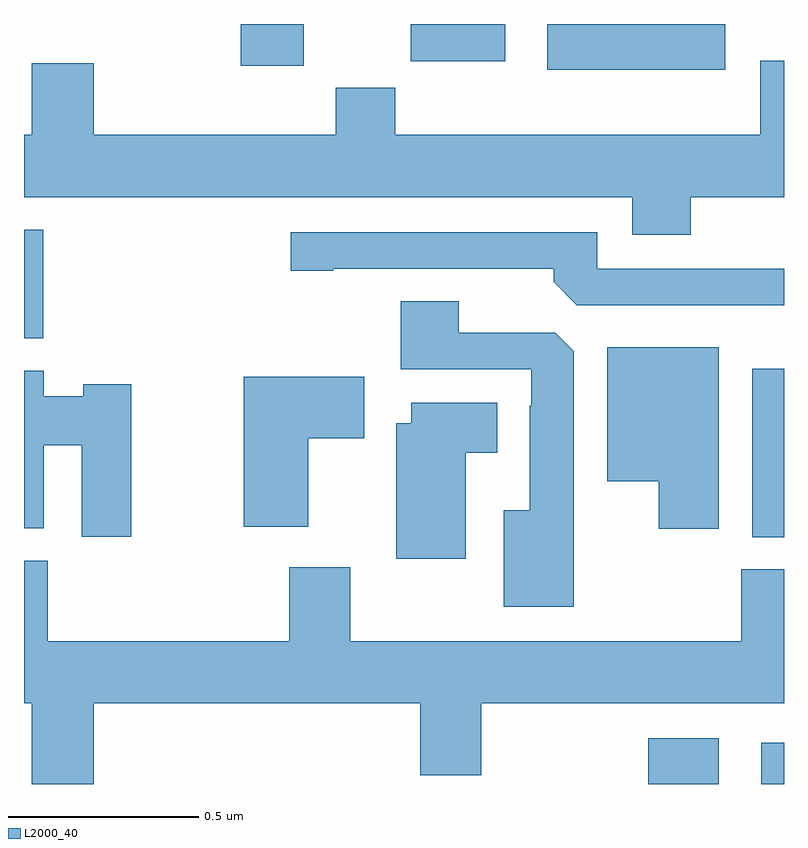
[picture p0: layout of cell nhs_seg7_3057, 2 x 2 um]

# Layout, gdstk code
import gdstk
lib = gdstk.Library(unit=1e-6, precision=1e-09)
def R(c, l, rs):  # rectangles x0, y0, x1, y1
    for r in rs: c.add(gdstk.rectangle(r[:2], r[2:], *l))
def P(c, l, *ps):  # polygons
    for p in ps: c.add(gdstk.Polygon(p, *l))
L2000_40 = (2000, 40)

nhs_seg7_3057 = lib.new_cell('nhs_seg7_3057')
R(nhs_seg7_3057, L2000_40, [(154.643,1071,154.828,1071.121), (154.94,1071,155,1071.109), (154.916,1071.65,155,1072.093), (153,1072.173,153.05,1072.459), (154.377,1072.88,154.846,1073), (153.571,1072.89,153.736,1073), (154.018,1072.902,154.267,1073)])
P(nhs_seg7_3057, L2000_40, [(154.754,1072.544),(155,1072.544),(155,1072.903),(154.937,1072.903),(154.937,1072.708),(153.977,1072.708),(153.977,1072.832),(153.821,1072.832),(153.821,1072.708),(153.184,1072.708),(153.184,1072.897),(153.02,1072.897),(153.02,1072.708),(153,1072.708),(153,1072.544),(154.601,1072.544),(154.601,1072.445),(154.754,1072.445)],
  [(155,1072.356),(154.509,1072.356),(154.509,1072.452),(153.702,1072.452),(153.702,1072.351),(153.814,1072.351),(153.814,1072.356),(154.394,1072.356),(154.394,1072.322),(154.455,1072.26),(155,1072.26)],
  [(154.447,1072.139),(154.398,1072.188),(154.144,1072.188),(154.144,1072.271),(153.992,1072.271),(153.992,1072.092),(154.335,1072.092),(154.335,1071.995),(154.331,1071.995),(154.331,1071.721),(154.262,1071.721),(154.262,1071.467),(154.447,1071.467)],
  [(154.828,1072.15),(154.535,1072.15),(154.535,1071.797),(154.67,1071.797),(154.67,1071.672),(154.828,1071.672)],
  [(153.282,1072.052),(153.156,1072.052),(153.156,1072.021),(153.052,1072.021),(153.052,1072.088),(153,1072.088),(153,1071.673),(153.052,1071.673),(153.052,1071.892),(153.152,1071.892),(153.152,1071.651),(153.282,1071.651)],
  [(153.748,1071.91),(153.895,1071.91),(153.895,1072.072),(153.578,1072.072),(153.578,1071.677),(153.748,1071.677)],
  [(154.162,1071.872),(154.246,1071.872),(154.246,1072.003),(154.019,1072.003),(154.019,1071.949),(153.98,1071.949),(153.98,1071.593),(154.162,1071.593)],
  [(153.184,1071.212),(154.043,1071.212),(154.043,1071.023),(154.203,1071.023),(154.203,1071.212),(155,1071.212),(155,1071.565),(154.888,1071.565),(154.888,1071.376),(153.858,1071.376),(153.858,1071.571),(153.698,1071.571),(153.698,1071.376),(153.062,1071.376),(153.062,1071.588),(153,1071.588),(153,1071.212),(153.02,1071.212),(153.02,1071),(153.184,1071)])

lib.write_gds('nhs_seg7_3057.gds')
